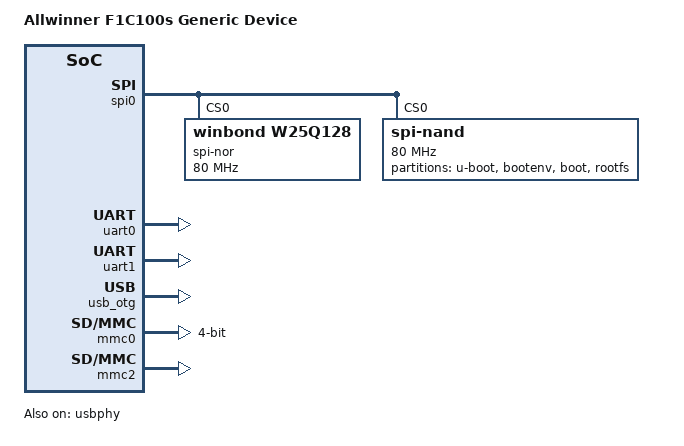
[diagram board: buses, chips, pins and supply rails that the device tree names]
// SPDX-License-Identifier: (GPL-2.0+ OR X11)

/dts-v1/;
#include "suniv-f1c100s.dtsi"

#include <dt-bindings/gpio/gpio.h>

/ {
	model = "Allwinner F1C100s Generic Device";
	compatible = "allwinner,suniv-f1c100s",
		     "allwinner,suniv";

	aliases {
		serial0 = &uart0;
		spi0 = &spi0;
	};

	chosen {
		stdout-path = "serial0:115200n8";
	};
};

&otg_sram {
	status = "okay";
};

&spi0 {
	pinctrl-names = "default";
	pinctrl-0 = <&spi0_pins_a>;
	status = "okay";

	spi-nor@0 {
		#address-cells = <1>;
		#size-cells = <1>;
		reg = <0>;
		compatible = "winbond,w25q128", "jedec,spi-nor";
		spi-max-frequency = <80000000>;
	};

	spi-nand@1 {
		#address-cells = <1>;
		#size-cells = <1>;
		reg = <0>;
		compatible = "spi-nand";
		spi-max-frequency = <80000000>;

		partitions {
			compatible = "fixed-partitions";
			#address-cells = <1>;
			#size-cells = <1>;

			partition@0 {
				label = "u-boot";
				reg = <0x000000 0x0e0000>;
				read-only;
			};

			partition@e0000 {
				label = "bootenv";
				reg = <0x0e0000 0x020000>;
			};

			partition@100000 {
				label = "boot";
				reg = <0x100000 0x600000>;
			};

			partition@700000 {
				label = "rootfs";
				reg = <0x700000 0x7900000>;
			};
		};
	};
};

&uart0 {
	pinctrl-names = "default";
	pinctrl-0 = <&uart0_pins_a>;
	status = "okay";
};

&uart1 {
	pinctrl-names = "default";
	pinctrl-0 = <&uart1_pins_a>;
	status = "okay";
};

&usb_otg {
	status = "okay";
};

&usbphy {
	status = "okay";
};

&mmc0 {
	status = "okay";
	bus-width = <4>;
};

&mmc2 {
	status = "okay";
};
